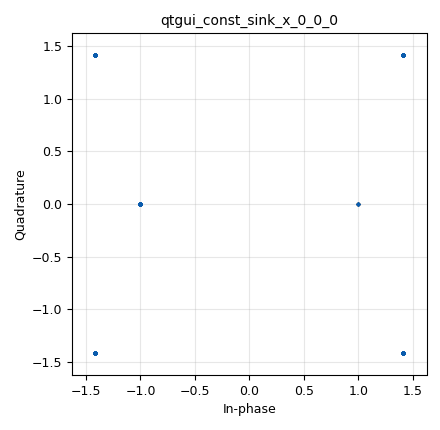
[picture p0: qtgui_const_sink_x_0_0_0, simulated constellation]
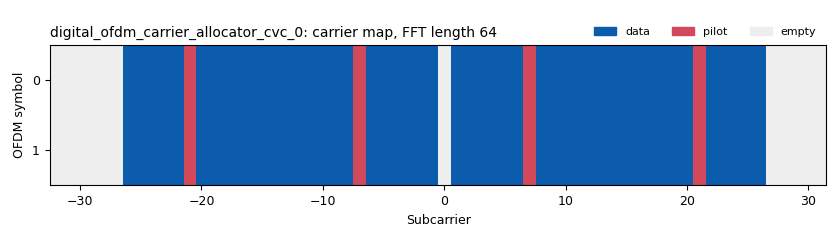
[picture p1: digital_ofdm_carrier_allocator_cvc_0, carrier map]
options:
  parameters:
    category: Custom
    description: simulation of data transmission
    generate_options: qt_gui
    id: MIMO_simulation
    output_language: python
    title: MIMO_simulition
  states: {}

blocks:
- name: center_freq
  id: variable
  parameters:
    value: 5e8
  states: {}
- name: fft_len
  id: variable
  parameters:
    value: '64'
  states: {}
- name: hdr_format
  id: variable
  parameters:
    value: digital.header_format_ofdm(occupied_carriers, 1, length_tag_key,)
  states: {}
- name: header_equalizer
  id: variable
  parameters:
    value: digital.ofdm_equalizer_simpledfe(fft_len, header_mod.base(), occupied_carriers, pilot_carriers, pilot_symbols)
  states: {}
- name: header_formatter
  id: variable
  parameters:
    value: digital.packet_header_ofdm(occupied_carriers, n_syms=1, len_tag_key=packet_length_tag_key, frame_len_tag_key=length_tag_key1, bits_per_header_sym=header_mod.bits_per_symbol(), bits_per_payload_sym=payload_mod.bits_per_symbol(), scramble_header=False)
  states: {}
- name: header_mod
  id: variable
  parameters:
    value: digital.constellation_bpsk()
  states: {}
- name: length_tag_key
  id: variable
  parameters:
    value: '"packet_len"'
  states: {}
- name: length_tag_key1
  id: variable
  parameters:
    value: '"frame_len"'
  states: {}
- name: occupied_carriers
  id: variable
  parameters:
    value: (list(range(-26, -21)) + list(range(-20, -7)) + list(range(-6, 0)) + list(range(1, 7)) + list(range(8, 21)) + list(range(22, 27)),)
  states: {}
- name: packet_len
  id: variable
  parameters:
    value: '96'
  states: {}
- name: packet_length_tag_key
  id: variable
  parameters:
    value: '"packet_len"'
  states: {}
- name: payload_equalizer
  id: variable
  parameters:
    value: digital.ofdm_equalizer_simpledfe(fft_len, payload_mod.base(), occupied_carriers, pilot_carriers, pilot_symbols, 1)
  states: {}
- name: payload_mod
  id: variable
  parameters:
    value: digital.constellation_qpsk()
  states: {}
- name: pilot_carriers
  id: variable
  parameters:
    value: ((-21, -7, 7, 21,),)
  states: {}
- name: pilot_symbols
  id: variable
  parameters:
    value: ((1, 1, 1, -1,),)
  states: {}
- name: rolloff
  id: variable
  parameters:
    value: '0'
  states: {}
- name: samp_rate
  id: variable
  parameters:
    value: '2000000'
  states: {}
- name: sync_word1
  id: variable
  parameters:
    value: '[0., 0., 0., 0., 0., 0., 0., 1.41421356, 0., -1.41421356, 0., 1.41421356, 0., -1.41421356, 0., -1.41421356, 0., -1.41421356, 0., 1.41421356, 0., -1.41421356, 0., 1.41421356, 0., -1.41421356, 0., -1.41421356, 0., -1.41421356, 0., -1.41421356, 0., 1.41421356, 0., -1.41421356, 0., 1.41421356, 0., 1.41421356, 0., 1.41421356, 0., -1.41421356, 0., 1.41421356, 0., 1.41421356, 0., 1.41421356, 0., -1.41421356, 0., 1.41421356, 0., 1.41421356, 0., 1.41421356, 0., 0., 0., 0., 0., 0.]'
  states: {}
- name: sync_word2
  id: variable
  parameters:
    value: '[0, 0, 0, 0, 0, 0, -1, -1, -1, -1, 1, 1, -1, -1, -1, 1, -1, 1, 1, 1, 1, 1, -1, -1, -1, -1, -1, 1, -1, -1, 1, -1, 0, 1, -1, 1, 1, 1, -1, 1, 1, 1, -1, 1, 1, 1, 1, -1, 1, -1, -1, -1, 1, -1, 1, -1, -1, -1, -1, 0, 0, 0, 0, 0]'
  states: {}
- name: sync_word3
  id: variable
  parameters:
    value: '[0, 0, 0, 0, 0, 0, -1, -1, -1, -1, 1, 1, -1, -1, -1, 1, -1, 1, 1, 1, 1, 1, -1, -1, -1, -1, -1, 1, -1, -1, 1, -1, 0, 1, -1, 1, 1, 1, -1, 1, 1, 1, -1, 1, 1, 1, 1, -1, 1, -1, -1, -1, 1, -1, 1, -1, -1, -1, -1, 0, 0, 0, 0, 0]'
  states: {}
- name: sync_word4
  id: variable
  parameters:
    value: '[0, 0, 0, 0, 0, 0, -1, -1, -1, -1, 1, 1, -1, -1, -1, 1, -1, 1, 1, 1, 1, 1, -1, -1, -1, -1, -1, 1, -1, -1, 1, -1, 0, 1, -1, 1, 1, 1, -1, 1, 1, 1, -1, 1, 1, 1, 1, -1, 1, -1, -1, -1, 1, -1, 1, -1, -1, -1, -1, 0, 0, 0, 0, 0]'
  states: {}
- name: sync_word5
  id: variable
  parameters:
    value: '[0, 0, 0, 0, 0, 0, 1, 1, 1, 1, -1, -1, 1, 1, 1, -1, 1, -1, -1, -1, -1, -1, 1, 1, 1, 1, 1, -1, 1, 1, -1, 1, 0, -1, 1, -1, -1, -1, 1, -1, -1, -1, 1, -1, -1, -1, -1, 1, -1, 1, 1, 1, -1, 1, -1, 1, 1, 1, 1, 0, 0, 0, 0, 0]'
  states: {}
- name: analog_frequency_modulator_fc_0
  id: analog_frequency_modulator_fc
  parameters:
    sensitivity: '-2.0/fft_len'
  states: {}
- name: analog_frequency_modulator_fc_0_0
  id: analog_frequency_modulator_fc
  parameters:
    sensitivity: '-2.0/fft_len'
  states: {}
- name: analog_random_source_x_0
  id: analog_random_source_x
  parameters:
    max: '255'
    min: '0'
    num_samps: '1000'
    repeat: 'True'
    type: byte
  states: {state: disabled}
- name: analog_random_source_x_0_0
  id: analog_random_source_x
  parameters:
    max: '255'
    min: '0'
    num_samps: '1000'
    repeat: 'True'
    type: byte
  states: {}
- name: blocks_delay_0
  id: blocks_delay
  parameters:
    delay: int(fft_len+fft_len/4)
    type: complex
  states: {}
- name: blocks_delay_0_0
  id: blocks_delay
  parameters:
    delay: int(fft_len+fft_len/4)
    type: complex
  states: {}
- name: blocks_file_sink_0_0
  id: blocks_file_sink
  parameters:
    file: D:\Documents\Pycharm_Files\USRP-B210-test-with-modulation\Updated_config\QPSK\tx.bin
    type: byte
    unbuffered: 'True'
  states: {}
- name: blocks_file_sink_1
  id: blocks_file_sink
  parameters:
    file: D:\Documents\Pycharm_Files\USRP-B210-test-with-modulation\Updated_config\QPSK\output.bin
    type: byte
  states: {}
- name: blocks_file_source_0
  id: blocks_file_source
  parameters:
    file: D:\Documents\Pycharm_Files\USRP-B210-test-with-modulation\Updated_config\QPSK\hello.txt
    repeat: 'True'
    type: byte
  states: {}
- name: blocks_multiply_const_vxx_0
  id: blocks_multiply_const_vxx
  parameters:
    const: '0.053'
    type: complex
  states: {}
- name: blocks_multiply_const_vxx_0_0
  id: blocks_multiply_const_vxx
  parameters:
    const: '0.053'
    type: complex
  states: {}
- name: blocks_multiply_xx_0
  id: blocks_multiply_xx
  parameters:
    type: complex
  states: {}
- name: blocks_multiply_xx_0_0
  id: blocks_multiply_xx
  parameters:
    type: complex
  states: {}
- name: blocks_repack_bits_bb_0
  id: blocks_repack_bits_bb
  parameters:
    align_output: 'True'
    endianness: gr.GR_LSB_FIRST
    k: payload_mod.bits_per_symbol()
    l: '8'
    len_tag_key: packet_length_tag_key
  states: {}
- name: blocks_repack_bits_bb_0_0
  id: blocks_repack_bits_bb
  parameters:
    endianness: gr.GR_LSB_FIRST
    k: '8'
    l: payload_mod.bits_per_symbol()
    len_tag_key: length_tag_key
  states: {}
- name: blocks_repack_bits_bb_0_0_0
  id: blocks_repack_bits_bb
  parameters:
    endianness: gr.GR_LSB_FIRST
    k: '8'
    l: '1'
    len_tag_key: length_tag_key
  states: {}
- name: blocks_repack_bits_bb_0_0_0_0
  id: blocks_repack_bits_bb
  parameters:
    endianness: gr.GR_LSB_FIRST
    k: '8'
    l: '1'
    len_tag_key: length_tag_key
  states: {}
- name: blocks_repack_bits_bb_0_0_1
  id: blocks_repack_bits_bb
  parameters:
    endianness: gr.GR_LSB_FIRST
    k: '8'
    l: payload_mod.bits_per_symbol()
    len_tag_key: length_tag_key
  states: {}
- name: blocks_repack_bits_bb_0_1
  id: blocks_repack_bits_bb
  parameters:
    align_output: 'True'
    endianness: gr.GR_LSB_FIRST
    k: payload_mod.bits_per_symbol()
    l: '8'
    len_tag_key: packet_length_tag_key
  states: {}
- name: blocks_stream_to_tagged_stream_0
  id: blocks_stream_to_tagged_stream
  parameters:
    len_tag_key: length_tag_key
    packet_len: packet_len
    type: byte
  states: {}
- name: blocks_stream_to_tagged_stream_0_0
  id: blocks_stream_to_tagged_stream
  parameters:
    len_tag_key: length_tag_key
    packet_len: packet_len
    type: byte
  states: {}
- name: blocks_tag_debug_1
  id: blocks_tag_debug
  parameters:
    display: 'False'
    name: Rx Bytes
    type: byte
  states: {}
- name: blocks_tag_debug_1_0
  id: blocks_tag_debug
  parameters:
    display: 'False'
    name: Rx Bytes
    type: byte
  states: {}
- name: blocks_tag_gate_0
  id: blocks_tag_gate
  parameters:
    propagate_tags: 'False'
    type: complex
  states: {}
- name: blocks_tag_gate_0_0
  id: blocks_tag_gate
  parameters:
    propagate_tags: 'False'
    type: complex
  states: {}
- name: blocks_tagged_stream_mux_0
  id: blocks_tagged_stream_mux
  parameters:
    lengthtagname: length_tag_key
    ninputs: '2'
    type: complex
  states: {}
- name: blocks_tagged_stream_mux_0_0
  id: blocks_tagged_stream_mux
  parameters:
    lengthtagname: length_tag_key
    ninputs: '2'
    type: complex
  states: {}
- name: blocks_throttle_0
  id: blocks_throttle
  parameters:
    samples_per_second: '10000'
    type: complex
  states: {}
- name: blocks_throttle_0_0
  id: blocks_throttle
  parameters:
    samples_per_second: '10000'
    type: complex
  states: {}
- name: channels_channel_model_0
  id: channels_channel_model
  parameters:
    epsilon: '1.0'
    freq_offset: '0.0'
    noise_voltage: '0.01'
    seed: '0'
    taps: '1'
  states: {}
- name: channels_channel_model_0_0_0
  id: channels_channel_model
  parameters:
    epsilon: '1'
    freq_offset: '0.0'
    noise_voltage: '0.01'
    seed: '0'
    taps: '1'
  states: {}
- name: digital_chunks_to_symbols_xx_0
  id: digital_chunks_to_symbols_xx
  parameters:
    dimension: '1'
    in_type: byte
    out_type: complex
    symbol_table: header_mod.points()
  states: {}
- name: digital_chunks_to_symbols_xx_0_0
  id: digital_chunks_to_symbols_xx
  parameters:
    dimension: '1'
    in_type: byte
    out_type: complex
    symbol_table: payload_mod.points()
  states: {}
- name: digital_chunks_to_symbols_xx_0_0_0
  id: digital_chunks_to_symbols_xx
  parameters:
    dimension: '1'
    in_type: byte
    out_type: complex
    symbol_table: payload_mod.points()
  states: {}
- name: digital_chunks_to_symbols_xx_0_1
  id: digital_chunks_to_symbols_xx
  parameters:
    dimension: '1'
    in_type: byte
    out_type: complex
    symbol_table: header_mod.points()
  states: {}
- name: digital_constellation_decoder_cb_0
  id: digital_constellation_decoder_cb
  parameters:
    constellation: header_mod.base()
  states: {}
- name: digital_constellation_decoder_cb_0_0
  id: digital_constellation_decoder_cb
  parameters:
    constellation: header_mod.base()
  states: {}
- name: digital_constellation_decoder_cb_1
  id: digital_constellation_decoder_cb
  parameters:
    constellation: payload_mod.base()
  states: {}
- name: digital_constellation_decoder_cb_1_0
  id: digital_constellation_decoder_cb
  parameters:
    constellation: payload_mod.base()
  states: {}
- name: digital_header_payload_demux_0
  id: digital_header_payload_demux
  parameters:
    guard_interval: int(fft_len/4)
    header_len: '4'
    header_padding: '0'
    items_per_symbol: fft_len
    length_tag_key: length_tag_key1
    output_symbols: 'True'
    samp_rate: samp_rate
    special_tags: ()
    timing_tag_key: '"rx_time"'
    type: complex
  states: {}
- name: digital_header_payload_demux_0_0
  id: digital_header_payload_demux
  parameters:
    guard_interval: int(fft_len/4)
    header_len: '4'
    header_padding: '0'
    items_per_symbol: fft_len
    length_tag_key: length_tag_key1
    output_symbols: 'True'
    samp_rate: samp_rate
    special_tags: ()
    timing_tag_key: '"rx_time"'
    type: complex
  states: {}
- name: digital_ofdm_carrier_allocator_cvc_0
  id: digital_ofdm_carrier_allocator_cvc
  parameters:
    fft_len: fft_len
    len_tag_key: length_tag_key
    occupied_carriers: occupied_carriers
    output_is_shifted: 'True'
    pilot_carriers: pilot_carriers
    pilot_symbols: pilot_symbols
    sync_words: (sync_word1, sync_word2, sync_word3)
  states: {}
- name: digital_ofdm_carrier_allocator_cvc_0_0
  id: digital_ofdm_carrier_allocator_cvc
  parameters:
    fft_len: fft_len
    len_tag_key: length_tag_key
    occupied_carriers: occupied_carriers
    output_is_shifted: 'True'
    pilot_carriers: pilot_carriers
    pilot_symbols: pilot_symbols
    sync_words: (sync_word1, sync_word4, sync_word5)
  states: {}
- name: digital_ofdm_chanest_vcvc_0
  id: digital_ofdm_chanest_vcvc
  parameters:
    force_one_symbol: 'False'
    max_carr_offset: '3'
    n_data_symbols: '1'
    sync_symbol1: sync_word1
    sync_symbol2: sync_word2
  states: {}
- name: digital_ofdm_cyclic_prefixer_0
  id: digital_ofdm_cyclic_prefixer
  parameters:
    cp_len: int(fft_len/4)
    input_size: fft_len
    rolloff: rolloff
    tagname: length_tag_key
  states: {}
- name: digital_ofdm_cyclic_prefixer_0_0
  id: digital_ofdm_cyclic_prefixer
  parameters:
    cp_len: int(fft_len/4)
    input_size: fft_len
    rolloff: rolloff
    tagname: length_tag_key
  states: {}
- name: digital_ofdm_frame_equalizer_vcvc_0
  id: digital_ofdm_frame_equalizer_vcvc
  parameters:
    cp_len: int(fft_len/4)
    equalizer: header_equalizer.base()
    fft_len: fft_len
    fixed_frame_len: '1'
    len_tag_key: length_tag_key1
    propagate_channel_state: 'True'
  states: {}
- name: digital_ofdm_frame_equalizer_vcvc_1
  id: digital_ofdm_frame_equalizer_vcvc
  parameters:
    cp_len: int(fft_len/4)
    equalizer: payload_equalizer.base()
    fft_len: fft_len
    len_tag_key: length_tag_key1
    propagate_channel_state: 'True'
  states: {}
- name: digital_ofdm_serializer_vcc_header
  id: digital_ofdm_serializer_vcc
  parameters:
    carr_offset_key: ''
    fft_len: fft_len
    len_tag_key: length_tag_key1
    occupied_carriers: occupied_carriers
    packet_len_tag_key: ''
  states: {}
- name: digital_ofdm_serializer_vcc_header_0
  id: digital_ofdm_serializer_vcc
  parameters:
    carr_offset_key: ''
    fft_len: fft_len
    len_tag_key: length_tag_key1
    occupied_carriers: occupied_carriers
    packet_len_tag_key: ''
  states: {}
- name: digital_ofdm_serializer_vcc_payload
  id: digital_ofdm_serializer_vcc
  parameters:
    carr_offset_key: ''
    fft_len: fft_len
    len_tag_key: length_tag_key1
    occupied_carriers: occupied_carriers
    packet_len_tag_key: packet_length_tag_key
    symbols_skipped: '1'
  states: {}
- name: digital_ofdm_serializer_vcc_payload_1
  id: digital_ofdm_serializer_vcc
  parameters:
    carr_offset_key: ''
    fft_len: fft_len
    len_tag_key: length_tag_key1
    occupied_carriers: occupied_carriers
    packet_len_tag_key: packet_length_tag_key
    symbols_skipped: '1'
  states: {}
- name: digital_ofdm_sync_sc_cfb_0
  id: digital_ofdm_sync_sc_cfb
  parameters:
    cp_len: int(fft_len/4)
    fft_len: fft_len
    threshold: '0.9'
  states: {}
- name: digital_ofdm_sync_sc_cfb_0_0
  id: digital_ofdm_sync_sc_cfb
  parameters:
    cp_len: int(fft_len/4)
    fft_len: fft_len
    threshold: '0.9'
  states: {}
- name: digital_packet_headerparser_b_0
  id: digital_packet_headerparser_b
  parameters:
    header_formatter: header_formatter.base()
  states: {}
- name: digital_packet_headerparser_b_0_0
  id: digital_packet_headerparser_b
  parameters:
    header_formatter: header_formatter.base()
  states: {}
- name: digital_protocol_formatter_bb_0
  id: digital_protocol_formatter_bb
  parameters:
    format: hdr_format
    len_tag_key: length_tag_key
  states: {}
- name: digital_protocol_formatter_bb_0_0
  id: digital_protocol_formatter_bb
  parameters:
    format: hdr_format
    len_tag_key: length_tag_key
  states: {}
- name: fft_vxx_0
  id: fft_vxx
  parameters:
    fft_size: fft_len
    forward: 'True'
    shift: 'True'
    type: complex
    window: ()
  states: {}
- name: fft_vxx_0_0
  id: fft_vxx
  parameters:
    fft_size: fft_len
    forward: 'False'
    shift: 'True'
    type: complex
    window: ()
  states: {}
- name: fft_vxx_0_0_0
  id: fft_vxx
  parameters:
    fft_size: fft_len
    forward: 'False'
    shift: 'True'
    type: complex
    window: ()
  states: {}
- name: fft_vxx_0_1
  id: fft_vxx
  parameters:
    fft_size: fft_len
    forward: 'True'
    shift: 'True'
    type: complex
    window: ()
  states: {}
- name: fft_vxx_0_1_0
  id: fft_vxx
  parameters:
    fft_size: fft_len
    forward: 'True'
    shift: 'True'
    type: complex
    window: ()
  states: {}
- name: fft_vxx_1
  id: fft_vxx
  parameters:
    fft_size: fft_len
    forward: 'True'
    shift: 'True'
    type: complex
    window: ()
  states: {}
- name: import_1
  id: import
  parameters:
    imports: from gnuradio.digital.utils import tagged_streams
  states: {}
- name: qtgui_const_sink_x_0_0
  id: qtgui_const_sink_x
  parameters:
    autoscale: 'True'
    name: Send tagged Stream Mux Constellation
    size: '1024'
    type: complex
    xmax: '1.5'
    xmin: '-1.5'
    ymax: '1.5'
    ymin: '-1.5'
  states: {}
- name: qtgui_const_sink_x_0_0_0
  id: qtgui_const_sink_x
  parameters:
    autoscale: 'True'
    size: '1024'
    type: complex
    xmax: '1.5'
    xmin: '-1.5'
    ymax: '1.5'
    ymin: '-1.5'
  states: {}
- name: qtgui_const_sink_x_0_0_0_0_0
  id: qtgui_const_sink_x
  parameters:
    autoscale: 'True'
    grid: 'True'
    name: OFDM Header Serializer Time Constellation 2
    size: '256'
    type: complex
    xmax: '1.5'
    xmin: '-1.5'
    ymax: '1.5'
    ymin: '-1.5'
  states: {}
- name: qtgui_const_sink_x_0_0_0_2
  id: qtgui_const_sink_x
  parameters:
    autoscale: 'True'
    grid: 'True'
    name: OFDM Payload Serializer Time Constellation 1
    size: '256'
    type: complex
    xmax: '1.5'
    xmin: '-1.5'
    ymax: '1.5'
    ymin: '-1.5'
  states: {}
- name: qtgui_const_sink_x_0_0_0_2_1
  id: qtgui_const_sink_x
  parameters:
    autoscale: 'True'
    grid: 'True'
    name: OFDM Payload Serializer Time Constellation 2
    size: '256'
    type: complex
    xmax: '1.5'
    xmin: '-1.5'
    ymax: '1.5'
    ymin: '-1.5'
  states: {}
- name: qtgui_const_sink_x_0_0_0_2_1_0
  id: qtgui_const_sink_x
  parameters:
    autoscale: 'True'
    grid: 'True'
    name: OFDM Header Serializer Time Constellation 1
    size: '256'
    type: complex
    xmax: '1.5'
    xmin: '-1.5'
    ymax: '1.5'
    ymin: '-1.5'
  states: {}
- name: qtgui_time_sink_x_0_1
  id: qtgui_time_sink_x
  parameters:
    autoscale: 'True'
    grid: 'True'
    label1: Scope Plot
    label2: ''
    name: OFDM Payload Serializer Time 1
    size: '1024'
    srate: samp_rate
    type: complex
  states: {}
- name: qtgui_time_sink_x_0_1_0
  id: qtgui_time_sink_x
  parameters:
    autoscale: 'True'
    grid: 'True'
    label1: Scope Plot
    label2: ''
    name: OFDM Header Serializer Time 1
    size: '1024'
    srate: samp_rate
    type: complex
  states: {}
- name: qtgui_time_sink_x_0_1_0_0
  id: qtgui_time_sink_x
  parameters:
    autoscale: 'True'
    grid: 'True'
    label1: Scope Plot
    label2: ''
    name: OFDM Header Serializer Time 2
    size: '1024'
    srate: samp_rate
    type: complex
  states: {}
- name: qtgui_time_sink_x_0_1_1
  id: qtgui_time_sink_x
  parameters:
    autoscale: 'True'
    grid: 'True'
    label1: Scope Plot
    label2: ''
    name: OFDM Payload Serializer Time 2
    size: '1024'
    srate: samp_rate
    type: complex
  states: {}
- name: virtual_sink_1
  id: virtual_sink
  parameters:
    stream_id: Payload Stream
  states: {}
- name: virtual_sink_1_0
  id: virtual_sink
  parameters:
    stream_id: Payload Stream1
  states: {}
- name: virtual_source_0
  id: virtual_source
  parameters:
    stream_id: Payload Stream1
  states: {}
- name: virtual_source_1
  id: virtual_source
  parameters:
    stream_id: Payload Stream
  states: {}

connections:
- [analog_frequency_modulator_fc_0, '0', blocks_multiply_xx_0, '0']
- [analog_frequency_modulator_fc_0_0, '0', blocks_multiply_xx_0_0, '0']
- [analog_random_source_x_0, '0', blocks_stream_to_tagged_stream_0, '0']
- [analog_random_source_x_0_0, '0', blocks_stream_to_tagged_stream_0_0, '0']
- [blocks_delay_0, '0', blocks_multiply_xx_0, '1']
- [blocks_delay_0_0, '0', blocks_multiply_xx_0_0, '1']
- [blocks_file_source_0, '0', blocks_file_sink_0_0, '0']
- [blocks_file_source_0, '0', blocks_stream_to_tagged_stream_0, '0']
- [blocks_multiply_const_vxx_0, '0', blocks_tag_gate_0, '0']
- [blocks_multiply_const_vxx_0_0, '0', blocks_tag_gate_0_0, '0']
- [blocks_multiply_xx_0, '0', digital_header_payload_demux_0, '0']
- [blocks_multiply_xx_0_0, '0', digital_header_payload_demux_0_0, '0']
- [blocks_repack_bits_bb_0, '0', blocks_file_sink_1, '0']
- [blocks_repack_bits_bb_0, '0', blocks_tag_debug_1, '0']
- [blocks_repack_bits_bb_0_0, '0', digital_chunks_to_symbols_xx_0_0, '0']
- [blocks_repack_bits_bb_0_0_0, '0', digital_chunks_to_symbols_xx_0, '0']
- [blocks_repack_bits_bb_0_0_0_0, '0', digital_chunks_to_symbols_xx_0_1, '0']
- [blocks_repack_bits_bb_0_0_1, '0', digital_chunks_to_symbols_xx_0_0_0, '0']
- [blocks_repack_bits_bb_0_1, '0', blocks_tag_debug_1_0, '0']
- [blocks_stream_to_tagged_stream_0, '0', blocks_repack_bits_bb_0_0, '0']
- [blocks_stream_to_tagged_stream_0, '0', digital_protocol_formatter_bb_0, '0']
- [blocks_stream_to_tagged_stream_0_0, '0', blocks_repack_bits_bb_0_0_1, '0']
- [blocks_stream_to_tagged_stream_0_0, '0', digital_protocol_formatter_bb_0_0, '0']
- [blocks_tag_gate_0, '0', channels_channel_model_0, '0']
- [blocks_tag_gate_0_0, '0', channels_channel_model_0_0_0, '0']
- [blocks_tagged_stream_mux_0, '0', digital_ofdm_carrier_allocator_cvc_0, '0']
- [blocks_tagged_stream_mux_0, '0', qtgui_const_sink_x_0_0, '0']
- [blocks_tagged_stream_mux_0_0, '0', digital_ofdm_carrier_allocator_cvc_0_0, '0']
- [blocks_tagged_stream_mux_0_0, '0', qtgui_const_sink_x_0_0_0, '0']
- [blocks_throttle_0, '0', blocks_delay_0, '0']
- [blocks_throttle_0, '0', digital_ofdm_sync_sc_cfb_0, '0']
- [blocks_throttle_0_0, '0', blocks_delay_0_0, '0']
- [blocks_throttle_0_0, '0', digital_ofdm_sync_sc_cfb_0_0, '0']
- [channels_channel_model_0, '0', blocks_throttle_0, '0']
- [channels_channel_model_0_0_0, '0', blocks_throttle_0_0, '0']
- [digital_chunks_to_symbols_xx_0, '0', blocks_tagged_stream_mux_0, '0']
- [digital_chunks_to_symbols_xx_0_0, '0', blocks_tagged_stream_mux_0, '1']
- [digital_chunks_to_symbols_xx_0_0_0, '0', blocks_tagged_stream_mux_0_0, '1']
- [digital_chunks_to_symbols_xx_0_1, '0', blocks_tagged_stream_mux_0_0, '0']
- [digital_constellation_decoder_cb_0, '0', digital_packet_headerparser_b_0, '0']
- [digital_constellation_decoder_cb_0_0, '0', digital_packet_headerparser_b_0_0, '0']
- [digital_constellation_decoder_cb_1, '0', blocks_repack_bits_bb_0, '0']
- [digital_constellation_decoder_cb_1_0, '0', blocks_repack_bits_bb_0_1, '0']
- [digital_header_payload_demux_0, '0', fft_vxx_0, '0']
- [digital_header_payload_demux_0, '1', virtual_sink_1, '0']
- [digital_header_payload_demux_0_0, '0', fft_vxx_0_1, '0']
- [digital_header_payload_demux_0_0, '1', virtual_sink_1_0, '0']
- [digital_ofdm_carrier_allocator_cvc_0, '0', fft_vxx_0_0, '0']
- [digital_ofdm_carrier_allocator_cvc_0_0, '0', fft_vxx_0_0_0, '0']
- [digital_ofdm_chanest_vcvc_0, '0', digital_ofdm_frame_equalizer_vcvc_0, '0']
- [digital_ofdm_cyclic_prefixer_0, '0', blocks_multiply_const_vxx_0, '0']
- [digital_ofdm_cyclic_prefixer_0_0, '0', blocks_multiply_const_vxx_0_0, '0']
- [digital_ofdm_frame_equalizer_vcvc_0, '0', digital_ofdm_serializer_vcc_header, '0']
- [digital_ofdm_frame_equalizer_vcvc_1, '0', digital_ofdm_serializer_vcc_payload, '0']
- [digital_ofdm_serializer_vcc_header, '0', digital_constellation_decoder_cb_0, '0']
- [digital_ofdm_serializer_vcc_header, '0', qtgui_const_sink_x_0_0_0_2_1_0, '0']
- [digital_ofdm_serializer_vcc_header, '0', qtgui_time_sink_x_0_1_0, '0']
- [digital_ofdm_serializer_vcc_header_0, '0', digital_constellation_decoder_cb_0_0, '0']
- [digital_ofdm_serializer_vcc_header_0, '0', qtgui_const_sink_x_0_0_0_0_0, '0']
- [digital_ofdm_serializer_vcc_header_0, '0', qtgui_time_sink_x_0_1_0_0, '0']
- [digital_ofdm_serializer_vcc_payload, '0', digital_constellation_decoder_cb_1, '0']
- [digital_ofdm_serializer_vcc_payload, '0', qtgui_const_sink_x_0_0_0_2, '0']
- [digital_ofdm_serializer_vcc_payload, '0', qtgui_time_sink_x_0_1, '0']
- [digital_ofdm_serializer_vcc_payload_1, '0', digital_constellation_decoder_cb_1_0, '0']
- [digital_ofdm_serializer_vcc_payload_1, '0', qtgui_const_sink_x_0_0_0_2_1, '0']
- [digital_ofdm_serializer_vcc_payload_1, '0', qtgui_time_sink_x_0_1_1, '0']
- [digital_ofdm_sync_sc_cfb_0, '0', analog_frequency_modulator_fc_0, '0']
- [digital_ofdm_sync_sc_cfb_0, '1', digital_header_payload_demux_0, '1']
- [digital_ofdm_sync_sc_cfb_0_0, '0', analog_frequency_modulator_fc_0_0, '0']
- [digital_ofdm_sync_sc_cfb_0_0, '1', digital_header_payload_demux_0_0, '1']
- [digital_packet_headerparser_b_0, header_data, digital_header_payload_demux_0, header_data]
- [digital_packet_headerparser_b_0_0, header_data, digital_header_payload_demux_0_0, header_data]
- [digital_protocol_formatter_bb_0, '0', blocks_repack_bits_bb_0_0_0, '0']
- [digital_protocol_formatter_bb_0_0, '0', blocks_repack_bits_bb_0_0_0_0, '0']
- [fft_vxx_0, '0', digital_ofdm_chanest_vcvc_0, '0']
- [fft_vxx_0_0, '0', digital_ofdm_cyclic_prefixer_0, '0']
- [fft_vxx_0_0_0, '0', digital_ofdm_cyclic_prefixer_0_0, '0']
- [fft_vxx_0_1, '0', digital_ofdm_serializer_vcc_header_0, '0']
- [fft_vxx_0_1_0, '0', digital_ofdm_serializer_vcc_payload_1, '0']
- [fft_vxx_1, '0', digital_ofdm_frame_equalizer_vcvc_1, '0']
- [virtual_source_0, '0', fft_vxx_0_1_0, '0']
- [virtual_source_1, '0', fft_vxx_1, '0']

metadata:
  file_format: 1
  grc_version: 3.10.12.0
